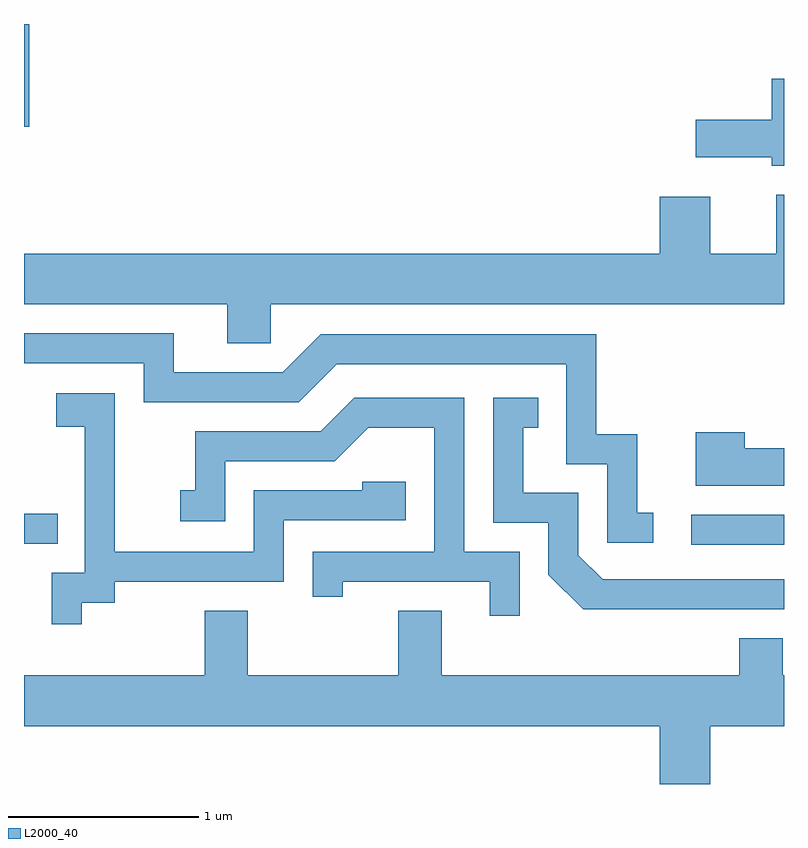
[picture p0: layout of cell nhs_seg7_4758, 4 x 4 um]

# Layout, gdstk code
import gdstk
lib = gdstk.Library(unit=1e-6, precision=1e-09)
def R(c, l, rs):  # rectangles x0, y0, x1, y1
    for r in rs: c.add(gdstk.rectangle(r[:2], r[2:], *l))
def P(c, l, *ps):  # polygons
    for p in ps: c.add(gdstk.Polygon(p, *l))
L2000_40 = (2000, 40)

nhs_seg7_4758 = lib.new_cell('nhs_seg7_4758')
R(nhs_seg7_4758, L2000_40, [(335.123,1697.511,335.611,1697.669), (331.611,1697.516,331.788,1697.674), (331.611,1699.711,331.639,1700.252)])
P(nhs_seg7_4758, L2000_40, [(335.611,1699.964),(335.546,1699.964),(335.546,1699.749),(335.146,1699.749),(335.146,1699.551),(335.546,1699.551),(335.546,1699.506),(335.611,1699.506)],
  [(332.909,1698.776),(335.611,1698.776),(335.611,1699.354),(335.571,1699.354),(335.571,1699.044),(335.224,1699.044),(335.224,1699.344),(334.956,1699.344),(334.956,1699.044),(331.611,1699.044),(331.611,1698.776),(332.681,1698.776),(332.681,1698.571),(332.909,1698.571)],
  [(334.923,1697.679),(334.839,1697.679),(334.839,1698.094),(334.624,1698.094),(334.624,1698.619),(333.174,1698.619),(332.974,1698.419),(332.399,1698.419),(332.399,1698.624),(331.611,1698.624),(331.611,1698.466),(332.241,1698.466),(332.241,1698.261),(333.057,1698.261),(333.257,1698.461),(334.466,1698.461),(334.466,1697.936),(334.681,1697.936),(334.681,1697.521),(334.923,1697.521)],
  [(331.914,1697.206),(332.089,1697.206),(332.089,1697.316),(332.979,1697.316),(332.979,1697.641),(333.619,1697.641),(333.619,1697.844),(333.391,1697.844),(333.391,1697.799),(332.821,1697.799),(332.821,1697.474),(332.089,1697.474),(332.089,1698.309),(331.781,1698.309),(331.781,1698.131),(331.931,1698.131),(331.931,1697.364),(331.756,1697.364),(331.756,1697.093),(331.914,1697.093)],
  [(334.219,1697.474),(333.929,1697.474),(333.929,1698.284),(333.349,1698.284),(333.174,1698.109),(332.511,1698.109),(332.511,1697.799),(332.433,1697.799),(332.433,1697.636),(332.669,1697.636),(332.669,1697.951),(333.247,1697.951),(333.422,1698.126),(333.771,1698.126),(333.771,1697.474),(333.131,1697.474),(333.131,1697.238),(333.289,1697.238),(333.289,1697.316),(334.061,1697.316),(334.061,1697.138),(334.219,1697.138)],
  [(335.611,1697.329),(334.657,1697.329),(334.529,1697.457),(334.529,1697.784),(334.239,1697.784),(334.239,1698.126),(334.318,1698.126),(334.318,1698.284),(334.081,1698.284),(334.081,1697.626),(334.371,1697.626),(334.371,1697.354),(334.554,1697.171),(335.611,1697.171)],
  [(335.611,1698.019),(335.404,1698.019),(335.404,1698.104),(335.146,1698.104),(335.146,1697.821),(335.611,1697.821)],
  [(335.224,1696.556),(335.611,1696.556),(335.611,1696.824),(335.604,1696.824),(335.604,1697.019),(335.376,1697.019),(335.376,1696.824),(333.809,1696.824),(333.809,1697.164),(333.581,1697.164),(333.581,1696.824),(332.789,1696.824),(332.789,1697.164),(332.561,1697.164),(332.561,1696.824),(331.611,1696.824),(331.611,1696.556),(334.956,1696.556),(334.956,1696.252),(335.224,1696.252)])

lib.write_gds('nhs_seg7_4758.gds')
